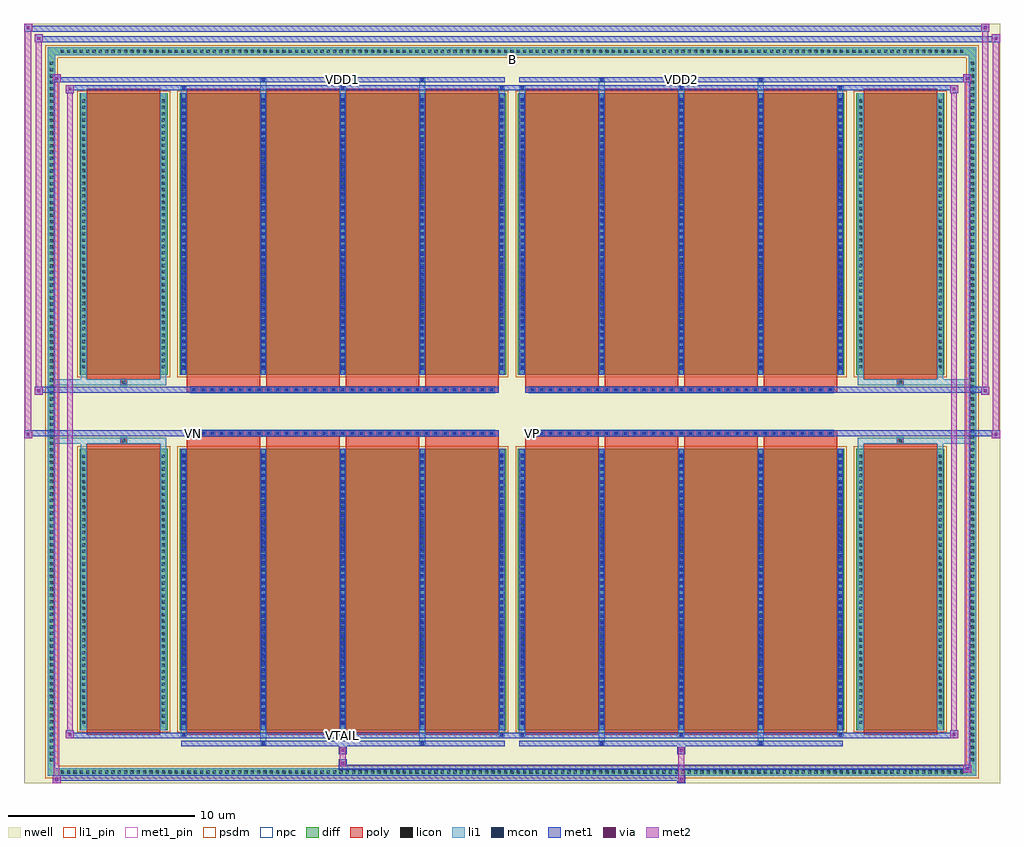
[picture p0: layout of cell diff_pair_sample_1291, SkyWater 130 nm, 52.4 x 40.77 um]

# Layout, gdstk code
import gdstk
lib = gdstk.Library(unit=1e-6, precision=5e-09)
def R(c, l, rs):  # rectangles x0, y0, x1, y1
    for r in rs: c.add(gdstk.rectangle(r[:2], r[2:], *l))
def A(c, l, x, y, w, h, nx, ny, dx, dy):  # array of equal rectangles
    R(c, l, [(x+i*dx, y+j*dy, x+i*dx+w, y+j*dy+h) for i in range(nx) for j in range(ny)])
def P(c, l, *ps):  # polygons
    for p in ps: c.add(gdstk.Polygon(p, *l))
nwell = (64, 20)
diff = (65, 20)
poly = (66, 20)
licon = (66, 44)
li1_pin = (67, 16)
li1 = (67, 20)
mcon = (67, 44)
met1_pin = (68, 16)
met1 = (68, 20)
via = (68, 44)
met2 = (69, 20)
psdm = (94, 20)
npc = (95, 20)

diff_pair_sample_1291 = lib.new_cell('diff_pair_sample_1291')
R(diff_pair_sample_1291, nwell, [(-26.2,-19.95,26.2,20.82), (-23.52,-18.14,-0.01,-0.8), (0.01,-18.14,23.52,-0.8), (-23.52,0.8,-0.01,18.14), (0.01,0.8,23.52,18.14)])
A(diff_pair_sample_1291, diff, -24.345, -19.55, 0.41, 0.41, 143, 2, 0.34, 38.69)
A(diff_pair_sample_1291, diff, -24.93, -18.905, 0.41, 0.41, 1, 111, 0, 0.34)
A(diff_pair_sample_1291, diff, 24.52, -18.905, 0.41, 0.41, 1, 111, 0, 0.34)
R(diff_pair_sample_1291, diff, [(-24.345,-19.55,24.345,-19.14), (-24.93,-18.905,-24.52,18.905), (24.52,-18.905,24.93,18.905), (-23.21,-17.095,-18.49,-1.985), (-17.85,-17.095,-0.32,-1.985), (0.32,-17.095,17.85,-1.985), (18.49,-17.095,23.21,-1.985), (-23.21,1.985,-18.49,17.095), (-17.85,1.985,-0.32,17.095), (0.32,1.985,17.85,17.095), (18.49,1.985,23.21,17.095), (-24.345,19.14,24.345,19.55)])
P(diff_pair_sample_1291, diff, [(24.93,19.55),(-24.93,19.55),(-24.93,-19.14),(-24.52,-19.14),(-24.52,19.14),(24.52,19.14),(24.52,-19.14),(-24.52,-19.14),(-24.93,-19.14),(-24.93,-19.55),(24.93,-19.55)])
A(diff_pair_sample_1291, poly, -17.46, -17.345, 3.94, 15.61, 4, 2, 4.27, 19.08)
A(diff_pair_sample_1291, poly, 0.71, -17.345, 3.94, 15.61, 4, 2, 4.27, 19.08)
A(diff_pair_sample_1291, poly, -17.46, -1.735, 3.94, 0.405, 4, 2, 4.27, 3.065)
A(diff_pair_sample_1291, poly, 0.71, -1.735, 3.94, 0.405, 4, 2, 4.27, 3.065)
A(diff_pair_sample_1291, poly, -17.25, -1.33, 0.33, 0.33, 33, 2, 0.5, 2.33)
A(diff_pair_sample_1291, poly, 0.92, -1.33, 0.33, 0.33, 33, 2, 0.5, 2.33)
R(diff_pair_sample_1291, poly, [(-22.82,-17.345,-18.88,-1.735), (18.88,-17.345,22.82,-1.735), (-21.015,-1.735,-20.685,-1.405), (-21.015,-1.735,-20.685,-1.405), (20.685,-1.735,21.015,-1.405), (20.685,-1.735,21.015,-1.405), (-17.46,-1.33,-0.71,-1), (0.71,-1.33,17.46,-1), (-17.46,1,-0.71,1.33), (0.71,1,17.46,1.33), (-21.015,1.405,-20.685,1.735), (-21.015,1.405,-20.685,1.735), (20.685,1.405,21.015,1.735), (20.685,1.405,21.015,1.735), (-22.82,1.735,-18.88,17.345), (18.88,1.735,22.82,17.345)])
A(diff_pair_sample_1291, licon, -24.225, -19.43, 0.17, 0.17, 143, 2, 0.34, 38.69)
A(diff_pair_sample_1291, licon, -24.81, -18.785, 0.17, 0.17, 1, 111, 0, 0.34)
A(diff_pair_sample_1291, licon, 24.64, -18.785, 0.17, 0.17, 1, 111, 0, 0.34)
A(diff_pair_sample_1291, licon, -23.07, -16.765, 0.17, 0.17, 1, 43, 0, 0.34)
A(diff_pair_sample_1291, licon, -18.8, -16.765, 0.17, 0.17, 1, 43, 0, 0.34)
A(diff_pair_sample_1291, licon, -17.71, -16.765, 0.17, 0.17, 5, 43, 4.27, 0.34)
A(diff_pair_sample_1291, licon, 0.46, -16.765, 0.17, 0.17, 5, 43, 4.27, 0.34)
A(diff_pair_sample_1291, licon, 18.63, -16.765, 0.17, 0.17, 1, 43, 0, 0.34)
A(diff_pair_sample_1291, licon, 22.9, -16.765, 0.17, 0.17, 1, 43, 0, 0.34)
A(diff_pair_sample_1291, licon, -17.17, -1.25, 0.17, 0.17, 33, 2, 0.5, 2.33)
A(diff_pair_sample_1291, licon, 1, -1.25, 0.17, 0.17, 33, 2, 0.5, 2.33)
A(diff_pair_sample_1291, licon, -23.07, 2.315, 0.17, 0.17, 1, 43, 0, 0.34)
A(diff_pair_sample_1291, licon, -18.8, 2.315, 0.17, 0.17, 1, 43, 0, 0.34)
A(diff_pair_sample_1291, licon, -17.71, 2.315, 0.17, 0.17, 5, 43, 4.27, 0.34)
A(diff_pair_sample_1291, licon, 0.46, 2.315, 0.17, 0.17, 5, 43, 4.27, 0.34)
A(diff_pair_sample_1291, licon, 18.63, 2.315, 0.17, 0.17, 1, 43, 0, 0.34)
A(diff_pair_sample_1291, licon, 22.9, 2.315, 0.17, 0.17, 1, 43, 0, 0.34)
R(diff_pair_sample_1291, licon, [(-20.935,-1.655,-20.765,-1.485), (20.765,-1.655,20.935,-1.485), (-20.935,1.485,-20.765,1.655), (20.765,1.485,20.935,1.655)])
R(diff_pair_sample_1291, li1_pin, [(-0.25,18.64,0.25,19.14)])
A(diff_pair_sample_1291, li1, -24.305, -19.51, 0.33, 0.33, 143, 2, 0.34, 38.69)
A(diff_pair_sample_1291, li1, -24.89, -18.865, 0.33, 0.33, 1, 111, 0, 0.34)
A(diff_pair_sample_1291, li1, 24.56, -18.865, 0.33, 0.33, 1, 111, 0, 0.34)
A(diff_pair_sample_1291, li1, -17.79, -17.47, 0.33, 0.375, 3, 2, 8.54, 34.565)
A(diff_pair_sample_1291, li1, -17.71, -17.47, 0.17, 0.17, 3, 2, 8.54, 34.77)
A(diff_pair_sample_1291, li1, 0.38, -17.47, 0.33, 0.375, 3, 2, 8.54, 34.565)
A(diff_pair_sample_1291, li1, 0.46, -17.47, 0.17, 0.17, 3, 2, 8.54, 34.77)
A(diff_pair_sample_1291, li1, -17.79, -17.095, 0.33, 15.11, 5, 2, 4.27, 19.08)
A(diff_pair_sample_1291, li1, 0.38, -17.095, 0.33, 15.11, 5, 2, 4.27, 19.08)
A(diff_pair_sample_1291, li1, -23.15, -16.845, 0.33, 0.33, 1, 43, 0, 0.34)
A(diff_pair_sample_1291, li1, -18.88, -16.845, 0.33, 0.33, 1, 43, 0, 0.34)
A(diff_pair_sample_1291, li1, -17.79, -16.845, 0.33, 0.33, 5, 43, 4.27, 0.34)
A(diff_pair_sample_1291, li1, 0.38, -16.845, 0.33, 0.33, 5, 43, 4.27, 0.34)
A(diff_pair_sample_1291, li1, 18.55, -16.845, 0.33, 0.33, 1, 43, 0, 0.34)
A(diff_pair_sample_1291, li1, 22.82, -16.845, 0.33, 0.33, 1, 43, 0, 0.34)
A(diff_pair_sample_1291, li1, -17.71, -16.825, 0.17, 0.17, 5, 41, 4.27, 0.36)
A(diff_pair_sample_1291, li1, -17.71, -16.825, 0.17, 14.57, 5, 2, 4.27, 19.08)
A(diff_pair_sample_1291, li1, 0.46, -16.825, 0.17, 0.17, 5, 41, 4.27, 0.36)
A(diff_pair_sample_1291, li1, 0.46, -16.825, 0.17, 14.57, 5, 2, 4.27, 19.08)
A(diff_pair_sample_1291, li1, -17.25, -1.33, 0.33, 0.33, 33, 2, 0.5, 2.33)
A(diff_pair_sample_1291, li1, 0.92, -1.33, 0.33, 0.33, 33, 2, 0.5, 2.33)
A(diff_pair_sample_1291, li1, -23.15, 2.235, 0.33, 0.33, 1, 43, 0, 0.34)
A(diff_pair_sample_1291, li1, -18.88, 2.235, 0.33, 0.33, 1, 43, 0, 0.34)
A(diff_pair_sample_1291, li1, -17.79, 2.235, 0.33, 0.33, 5, 43, 4.27, 0.34)
A(diff_pair_sample_1291, li1, 0.38, 2.235, 0.33, 0.33, 5, 43, 4.27, 0.34)
A(diff_pair_sample_1291, li1, 18.55, 2.235, 0.33, 0.33, 1, 43, 0, 0.34)
A(diff_pair_sample_1291, li1, 22.82, 2.235, 0.33, 0.33, 1, 43, 0, 0.34)
A(diff_pair_sample_1291, li1, -17.71, 2.255, 0.17, 0.17, 5, 41, 4.27, 0.36)
A(diff_pair_sample_1291, li1, 0.46, 2.255, 0.17, 0.17, 5, 41, 4.27, 0.36)
R(diff_pair_sample_1291, li1, [(-24.93,-19.55,-24.52,-19.14), (-24.93,-19.55,-24.52,-19.14), (-24.52,-19.55,24.52,-19.14), (24.52,-19.55,24.93,-19.14), (24.52,-19.55,24.93,-19.14), (-24.93,-19.14,-24.52,19.14), (24.52,-19.14,24.93,19.14), (-13.52,-17.9,-13.19,-17.095), (-13.44,-17.9,-13.27,-17.73), (-4.98,-17.9,-4.65,-17.095), (-4.9,-17.9,-4.73,-17.73), (4.65,-17.9,4.98,-17.095), (4.73,-17.9,4.9,-17.73), (13.19,-17.9,13.52,-17.095), (13.27,-17.9,13.44,-17.73), (-23.15,-17.095,-22.82,-1.985), (-18.88,-17.095,-18.55,-1.985), (18.55,-17.095,18.88,-1.985), (22.82,-17.095,23.15,-1.985), (-23.15,-1.985,-22.82,-1.405), (-18.88,-1.985,-18.55,-1.405), (18.55,-1.985,18.88,-1.405), (22.82,-1.985,23.15,-1.405), (-24.93,-1.735,-21.015,-1.405), (-23.15,-1.735,-21.015,-1.405), (-21.015,-1.735,-20.685,-1.405), (-20.685,-1.735,-18.55,-1.405), (18.55,-1.735,20.685,-1.405), (20.685,-1.735,21.015,-1.405), (20.685,-1.735,24.93,-1.405), (21.015,-1.735,23.15,-1.405), (-24.93,1.405,-21.015,1.735), (-23.15,1.405,-21.015,1.735), (-23.15,1.405,-22.82,1.985), (-21.015,1.405,-20.685,1.735), (-20.685,1.405,-18.55,1.735), (-18.88,1.405,-18.55,1.985), (18.55,1.405,20.685,1.735), (18.55,1.405,18.88,1.985), (20.685,1.405,21.015,1.735), (20.685,1.405,24.93,1.735), (21.015,1.405,23.15,1.735), (22.82,1.405,23.15,1.985), (-23.15,1.985,-22.82,17.095), (-18.88,1.985,-18.55,17.095), (18.55,1.985,18.88,17.095), (22.82,1.985,23.15,17.095), (-13.52,17.095,-13.19,17.9), (-4.98,17.095,-4.65,17.9), (4.65,17.095,4.98,17.9), (13.19,17.095,13.52,17.9), (-13.44,17.73,-13.27,17.9), (-4.9,17.73,-4.73,17.9), (4.73,17.73,4.9,17.9), (13.27,17.73,13.44,17.9), (-24.93,19.14,-24.52,19.55), (-24.93,19.14,-24.52,19.55), (-24.52,19.14,24.52,19.55), (24.52,19.14,24.93,19.55), (24.52,19.14,24.93,19.55)])
A(diff_pair_sample_1291, mcon, -17.71, -17.47, 0.17, 0.17, 3, 2, 8.54, 34.77)
A(diff_pair_sample_1291, mcon, 0.46, -17.47, 0.17, 0.17, 3, 2, 8.54, 34.77)
A(diff_pair_sample_1291, mcon, -17.71, -16.825, 0.17, 0.17, 5, 41, 4.27, 0.36)
A(diff_pair_sample_1291, mcon, 0.46, -16.825, 0.17, 0.17, 5, 41, 4.27, 0.36)
A(diff_pair_sample_1291, mcon, -17.17, -1.25, 0.17, 0.17, 33, 2, 0.5, 2.33)
A(diff_pair_sample_1291, mcon, 1, -1.25, 0.17, 0.17, 33, 2, 0.5, 2.33)
A(diff_pair_sample_1291, mcon, -17.71, 2.255, 0.17, 0.17, 5, 41, 4.27, 0.36)
A(diff_pair_sample_1291, mcon, 0.46, 2.255, 0.17, 0.17, 5, 41, 4.27, 0.36)
R(diff_pair_sample_1291, mcon, [(-13.44,-17.9,-13.27,-17.73), (-4.9,-17.9,-4.73,-17.73), (4.73,-17.9,4.9,-17.73), (13.27,-17.9,13.44,-17.73), (-13.44,17.73,-13.27,17.9), (-4.9,17.73,-4.73,17.9), (4.73,17.73,4.9,17.9), (13.27,17.73,13.44,17.9)])
R(diff_pair_sample_1291, met1_pin, [(-9.22,-17.51,-8.95,-17.24), (-17.22,-1.29,-16.95,-1.02), (0.95,-1.29,1.22,-1.02), (-9.22,17.69,-8.95,17.96), (8.95,17.69,9.22,17.96)])
A(diff_pair_sample_1291, met1, -17.77, -17.53, 0.29, 0.29, 3, 2, 8.54, 34.77)
A(diff_pair_sample_1291, met1, 0.4, -17.53, 0.29, 0.29, 3, 2, 8.54, 34.77)
A(diff_pair_sample_1291, met1, -17.77, -17.095, 0.29, 15.11, 5, 2, 4.27, 19.08)
A(diff_pair_sample_1291, met1, 0.4, -17.095, 0.29, 15.11, 5, 2, 4.27, 19.08)
A(diff_pair_sample_1291, met1, -17.77, -16.885, 0.29, 0.29, 5, 41, 4.27, 0.36)
A(diff_pair_sample_1291, met1, 0.4, -16.885, 0.29, 0.29, 5, 41, 4.27, 0.36)
A(diff_pair_sample_1291, met1, -17.23, -1.31, 0.29, 0.29, 33, 2, 0.5, 2.33)
A(diff_pair_sample_1291, met1, 0.94, -1.31, 0.29, 0.29, 33, 2, 0.5, 2.33)
A(diff_pair_sample_1291, met1, -17.77, 2.195, 0.29, 0.29, 5, 41, 4.27, 0.36)
A(diff_pair_sample_1291, met1, 0.4, 2.195, 0.29, 0.29, 5, 41, 4.27, 0.36)
R(diff_pair_sample_1291, met1, [(-24.66,-19.95,-24.23,-19.52), (8.87,-19.95,9.3,-19.52), (-24.66,-19.81,9.3,-19.52), (24.23,-19.38,24.66,-18.95), (-9.3,-19.24,24.66,-18.95), (-9.3,-19.1,-8.87,-18.67), (-9.3,-18.39,-8.87,-17.96), (8.87,-18.39,9.3,-17.96), (-17.77,-17.96,-0.4,-17.67), (-13.5,-17.96,-13.21,-17.67), (-4.96,-17.96,-4.67,-17.67), (0.4,-17.96,17.77,-17.67), (4.67,-17.96,4.96,-17.67), (13.21,-17.96,13.5,-17.67), (-23.95,-17.53,-23.52,-17.1), (-23.95,-17.53,-17.77,-17.24), (-17.77,-17.53,-0.4,-17.24), (-0.4,-17.53,0.4,-17.24), (0.4,-17.53,17.77,-17.24), (17.77,-17.53,23.95,-17.24), (23.52,-17.53,23.95,-17.1), (-26.2,-1.43,-25.77,-1), (25.77,-1.43,26.2,-1), (-26.2,-1.33,-0.71,-1), (-17.46,-1.33,-0.71,-1), (0.71,-1.33,17.46,-1), (0.71,-1.33,26.2,-1), (-25.63,0.9,-25.2,1.33), (25.2,0.9,25.63,1.33), (-25.63,1,-17.46,1.33), (-17.46,1,-0.71,1.33), (0.71,1,17.46,1.33), (17.46,1,25.63,1.33), (-23.95,17.1,-23.52,17.53), (23.52,17.1,23.95,17.53), (-23.95,17.24,-17.77,17.53), (-17.77,17.24,-0.4,17.53), (-0.4,17.24,0.4,17.53), (0.4,17.24,17.77,17.53), (17.77,17.24,23.95,17.53), (-24.66,17.67,-24.23,18.1), (-24.66,17.67,-17.77,17.96), (-17.77,17.67,-0.4,17.96), (-13.5,17.67,-13.21,17.96), (-4.96,17.67,-4.67,17.96), (0.4,17.67,17.77,17.96), (4.67,17.67,4.96,17.96), (13.21,17.67,13.5,17.96), (17.77,17.67,24.66,17.96), (24.23,17.67,24.66,18.1), (-25.63,19.82,-25.2,20.25), (-25.63,19.82,-23.52,20.15), (-23.52,19.82,23.52,20.15), (23.52,19.82,26.2,20.15), (25.77,19.82,26.2,20.25), (-26.2,20.39,-25.77,20.82), (-26.2,20.39,-23.52,20.72), (-23.52,20.39,23.52,20.72), (23.52,20.39,25.63,20.72), (25.2,20.39,25.63,20.82)])
R(diff_pair_sample_1291, via, [(-24.52,-19.81,-24.37,-19.66), (9.01,-19.81,9.16,-19.66), (24.37,-19.24,24.52,-19.09), (-9.16,-18.96,-9.01,-18.81), (-9.16,-18.25,-9.01,-18.1), (9.01,-18.25,9.16,-18.1), (-23.81,-17.39,-23.66,-17.24), (23.66,-17.39,23.81,-17.24), (-26.06,-1.29,-25.91,-1.14), (25.91,-1.29,26.06,-1.14), (-25.49,1.04,-25.34,1.19), (25.34,1.04,25.49,1.19), (-23.81,17.24,-23.66,17.39), (23.66,17.24,23.81,17.39), (-24.52,17.81,-24.37,17.96), (24.37,17.81,24.52,17.96), (-25.49,19.96,-25.34,20.11), (25.91,19.96,26.06,20.11), (-26.06,20.53,-25.91,20.68), (25.34,20.53,25.49,20.68)])
R(diff_pair_sample_1291, met2, [(-24.66,-19.95,-24.23,-19.52), (-24.59,-19.95,-24.3,18.1), (-24.3,-19.95,-24.23,-19.52), (-24.61,-19.9,-24.28,-19.57), (8.92,-19.9,9.25,-19.57), (8.92,-19.57,9.25,-18.34), (24.23,-19.38,24.66,-18.95), (24.3,-19.38,24.59,18.1), (24.59,-19.38,24.66,-18.95), (24.28,-19.33,24.61,-19), (-9.25,-19.05,-8.92,-18.72), (-9.25,-18.72,-8.92,-18.34), (-9.25,-18.34,-8.92,-18.01), (8.92,-18.34,9.25,-18.01), (-23.95,-17.53,-23.52,-17.1), (-23.88,-17.53,-23.59,17.53), (-23.59,-17.53,-23.52,-17.1), (23.52,-17.53,23.95,-17.1), (23.59,-17.53,23.88,17.53), (23.88,-17.53,23.95,-17.1), (-23.9,-17.48,-23.57,-17.15), (23.57,-17.48,23.9,-17.15), (-26.2,-1.43,-25.77,-1), (-26.15,-1.43,-25.82,20.82), (-25.82,-1.43,-25.77,-1), (25.77,-1.43,26.2,-1), (25.82,-1.43,26.15,20.25), (26.15,-1.43,26.2,-1), (-26.15,-1.38,-25.82,-1.05), (25.82,-1.38,26.15,-1.05), (-25.63,0.9,-25.2,1.33), (-25.58,0.9,-25.25,20.25), (-25.25,0.9,-25.2,1.33), (25.2,0.9,25.63,1.33), (25.25,0.9,25.58,20.82), (25.58,0.9,25.63,1.33), (-25.58,0.95,-25.25,1.28), (25.25,0.95,25.58,1.28), (-23.95,17.1,-23.52,17.53), (-23.59,17.1,-23.52,17.53), (23.52,17.1,23.95,17.53), (23.88,17.1,23.95,17.53), (-23.9,17.15,-23.57,17.48), (23.57,17.15,23.9,17.48), (-24.66,17.67,-24.23,18.1), (-24.3,17.67,-24.23,18.1), (24.23,17.67,24.66,18.1), (24.59,17.67,24.66,18.1), (-24.61,17.72,-24.28,18.05), (24.28,17.72,24.61,18.05), (-25.63,19.82,-25.2,20.25), (-25.25,19.82,-25.2,20.25), (25.77,19.82,26.2,20.25), (26.15,19.82,26.2,20.25), (-25.58,19.87,-25.25,20.2), (25.82,19.87,26.15,20.2), (-26.2,20.39,-25.77,20.82), (-25.82,20.39,-25.77,20.82), (25.2,20.39,25.63,20.82), (25.58,20.39,25.63,20.82), (-26.15,20.44,-25.82,20.77), (25.25,20.44,25.58,20.77)])
R(diff_pair_sample_1291, psdm, [(-23.34,-17.225,-18.36,-1.855), (-17.98,-17.225,-0.19,-1.855), (0.19,-17.225,17.98,-1.855), (18.36,-17.225,23.34,-1.855), (-23.34,1.855,-18.36,17.225), (-17.98,1.855,-0.19,17.225), (0.19,1.855,17.98,17.225), (18.36,1.855,23.34,17.225)])
P(diff_pair_sample_1291, psdm, [(25.06,19.68),(-25.06,19.68),(-25.06,-19.01),(-24.39,-19.01),(-24.39,19.01),(24.39,19.01),(24.39,-19.01),(-24.39,-19.01),(-25.06,-19.01),(-25.06,-19.68),(25.06,-19.68)])
A(diff_pair_sample_1291, npc, -17.27, -1.35, 0.37, 0.37, 33, 2, 0.5, 2.33)
A(diff_pair_sample_1291, npc, 0.9, -1.35, 0.37, 0.37, 33, 2, 0.5, 2.33)
R(diff_pair_sample_1291, npc, [(-21.035,-1.755,-20.665,-1.385), (20.665,-1.755,21.035,-1.385), (-17.27,-1.35,-16.4,-0.98), (-17.27,-1.35,-16.4,-0.98), (-16.77,-1.35,-15.9,-0.98), (-16.77,-1.35,-15.9,-0.98), (-16.27,-1.35,-15.4,-0.98), (-16.27,-1.35,-15.4,-0.98), (-15.77,-1.35,-14.9,-0.98), (-15.77,-1.35,-14.9,-0.98), (-15.27,-1.35,-14.4,-0.98), (-15.27,-1.35,-14.4,-0.98), (-14.77,-1.35,-13.9,-0.98), (-14.77,-1.35,-13.9,-0.98), (-14.27,-1.35,-13.4,-0.98), (-14.27,-1.35,-13.4,-0.98), (-13.77,-1.35,-12.9,-0.98), (-13.77,-1.35,-12.9,-0.98), (-13.27,-1.35,-12.4,-0.98), (-13.27,-1.35,-12.4,-0.98), (-12.77,-1.35,-11.9,-0.98), (-12.77,-1.35,-11.9,-0.98), (-12.27,-1.35,-11.4,-0.98), (-12.27,-1.35,-11.4,-0.98), (-11.77,-1.35,-10.9,-0.98), (-11.77,-1.35,-10.9,-0.98), (-11.27,-1.35,-10.4,-0.98), (-11.27,-1.35,-10.4,-0.98), (-10.77,-1.35,-9.9,-0.98), (-10.77,-1.35,-9.9,-0.98), (-10.27,-1.35,-9.4,-0.98), (-10.27,-1.35,-9.4,-0.98), (-9.77,-1.35,-8.9,-0.98), (-9.77,-1.35,-8.9,-0.98), (-9.27,-1.35,-8.4,-0.98), (-9.27,-1.35,-8.4,-0.98), (-8.77,-1.35,-7.9,-0.98), (-8.77,-1.35,-7.9,-0.98), (-8.27,-1.35,-7.4,-0.98), (-8.27,-1.35,-7.4,-0.98), (-7.77,-1.35,-6.9,-0.98), (-7.77,-1.35,-6.9,-0.98), (-7.27,-1.35,-6.4,-0.98), (-7.27,-1.35,-6.4,-0.98), (-6.77,-1.35,-5.9,-0.98), (-6.77,-1.35,-5.9,-0.98), (-6.27,-1.35,-5.4,-0.98), (-6.27,-1.35,-5.4,-0.98), (-5.77,-1.35,-4.9,-0.98), (-5.77,-1.35,-4.9,-0.98), (-5.27,-1.35,-4.4,-0.98), (-5.27,-1.35,-4.4,-0.98), (-4.77,-1.35,-3.9,-0.98), (-4.77,-1.35,-3.9,-0.98), (-4.27,-1.35,-3.4,-0.98), (-4.27,-1.35,-3.4,-0.98), (-3.77,-1.35,-2.9,-0.98), (-3.77,-1.35,-2.9,-0.98), (-3.27,-1.35,-2.4,-0.98), (-3.27,-1.35,-2.4,-0.98), (-2.77,-1.35,-1.9,-0.98), (-2.77,-1.35,-1.9,-0.98), (-2.27,-1.35,-1.4,-0.98), (-2.27,-1.35,-1.4,-0.98), (-1.77,-1.35,-0.9,-0.98), (-1.77,-1.35,-0.9,-0.98), (0.9,-1.35,1.77,-0.98), (0.9,-1.35,1.77,-0.98), (1.4,-1.35,2.27,-0.98), (1.4,-1.35,2.27,-0.98), (1.9,-1.35,2.77,-0.98), (1.9,-1.35,2.77,-0.98), (2.4,-1.35,3.27,-0.98), (2.4,-1.35,3.27,-0.98), (2.9,-1.35,3.77,-0.98), (2.9,-1.35,3.77,-0.98), (3.4,-1.35,4.27,-0.98), (3.4,-1.35,4.27,-0.98), (3.9,-1.35,4.77,-0.98), (3.9,-1.35,4.77,-0.98), (4.4,-1.35,5.27,-0.98), (4.4,-1.35,5.27,-0.98), (4.9,-1.35,5.77,-0.98), (4.9,-1.35,5.77,-0.98), (5.4,-1.35,6.27,-0.98), (5.4,-1.35,6.27,-0.98), (5.9,-1.35,6.77,-0.98), (5.9,-1.35,6.77,-0.98), (6.4,-1.35,7.27,-0.98), (6.4,-1.35,7.27,-0.98), (6.9,-1.35,7.77,-0.98), (6.9,-1.35,7.77,-0.98), (7.4,-1.35,8.27,-0.98), (7.4,-1.35,8.27,-0.98), (7.9,-1.35,8.77,-0.98), (7.9,-1.35,8.77,-0.98), (8.4,-1.35,9.27,-0.98), (8.4,-1.35,9.27,-0.98), (8.9,-1.35,9.77,-0.98), (8.9,-1.35,9.77,-0.98), (9.4,-1.35,10.27,-0.98), (9.4,-1.35,10.27,-0.98), (9.9,-1.35,10.77,-0.98), (9.9,-1.35,10.77,-0.98), (10.4,-1.35,11.27,-0.98), (10.4,-1.35,11.27,-0.98), (10.9,-1.35,11.77,-0.98), (10.9,-1.35,11.77,-0.98), (11.4,-1.35,12.27,-0.98), (11.4,-1.35,12.27,-0.98), (11.9,-1.35,12.77,-0.98), (11.9,-1.35,12.77,-0.98), (12.4,-1.35,13.27,-0.98), (12.4,-1.35,13.27,-0.98), (12.9,-1.35,13.77,-0.98), (12.9,-1.35,13.77,-0.98), (13.4,-1.35,14.27,-0.98), (13.4,-1.35,14.27,-0.98), (13.9,-1.35,14.77,-0.98), (13.9,-1.35,14.77,-0.98), (14.4,-1.35,15.27,-0.98), (14.4,-1.35,15.27,-0.98), (14.9,-1.35,15.77,-0.98), (14.9,-1.35,15.77,-0.98), (15.4,-1.35,16.27,-0.98), (15.4,-1.35,16.27,-0.98), (15.9,-1.35,16.77,-0.98), (15.9,-1.35,16.77,-0.98), (16.4,-1.35,17.27,-0.98), (16.4,-1.35,17.27,-0.98), (-17.27,0.98,-16.4,1.35), (-17.27,0.98,-16.4,1.35), (-16.77,0.98,-15.9,1.35), (-16.77,0.98,-15.9,1.35), (-16.27,0.98,-15.4,1.35), (-16.27,0.98,-15.4,1.35), (-15.77,0.98,-14.9,1.35), (-15.77,0.98,-14.9,1.35), (-15.27,0.98,-14.4,1.35), (-15.27,0.98,-14.4,1.35), (-14.77,0.98,-13.9,1.35), (-14.77,0.98,-13.9,1.35), (-14.27,0.98,-13.4,1.35), (-14.27,0.98,-13.4,1.35), (-13.77,0.98,-12.9,1.35), (-13.77,0.98,-12.9,1.35), (-13.27,0.98,-12.4,1.35), (-13.27,0.98,-12.4,1.35), (-12.77,0.98,-11.9,1.35), (-12.77,0.98,-11.9,1.35), (-12.27,0.98,-11.4,1.35), (-12.27,0.98,-11.4,1.35), (-11.77,0.98,-10.9,1.35), (-11.77,0.98,-10.9,1.35), (-11.27,0.98,-10.4,1.35), (-11.27,0.98,-10.4,1.35), (-10.77,0.98,-9.9,1.35), (-10.77,0.98,-9.9,1.35), (-10.27,0.98,-9.4,1.35), (-10.27,0.98,-9.4,1.35), (-9.77,0.98,-8.9,1.35), (-9.77,0.98,-8.9,1.35), (-9.27,0.98,-8.4,1.35), (-9.27,0.98,-8.4,1.35), (-8.77,0.98,-7.9,1.35), (-8.77,0.98,-7.9,1.35), (-8.27,0.98,-7.4,1.35), (-8.27,0.98,-7.4,1.35), (-7.77,0.98,-6.9,1.35), (-7.77,0.98,-6.9,1.35), (-7.27,0.98,-6.4,1.35), (-7.27,0.98,-6.4,1.35), (-6.77,0.98,-5.9,1.35), (-6.77,0.98,-5.9,1.35), (-6.27,0.98,-5.4,1.35), (-6.27,0.98,-5.4,1.35), (-5.77,0.98,-4.9,1.35), (-5.77,0.98,-4.9,1.35), (-5.27,0.98,-4.4,1.35), (-5.27,0.98,-4.4,1.35), (-4.77,0.98,-3.9,1.35), (-4.77,0.98,-3.9,1.35), (-4.27,0.98,-3.4,1.35), (-4.27,0.98,-3.4,1.35), (-3.77,0.98,-2.9,1.35), (-3.77,0.98,-2.9,1.35), (-3.27,0.98,-2.4,1.35), (-3.27,0.98,-2.4,1.35), (-2.77,0.98,-1.9,1.35), (-2.77,0.98,-1.9,1.35), (-2.27,0.98,-1.4,1.35), (-2.27,0.98,-1.4,1.35), (-1.77,0.98,-0.9,1.35), (-1.77,0.98,-0.9,1.35), (0.9,0.98,1.77,1.35), (0.9,0.98,1.77,1.35), (1.4,0.98,2.27,1.35), (1.4,0.98,2.27,1.35), (1.9,0.98,2.77,1.35), (1.9,0.98,2.77,1.35), (2.4,0.98,3.27,1.35), (2.4,0.98,3.27,1.35), (2.9,0.98,3.77,1.35), (2.9,0.98,3.77,1.35), (3.4,0.98,4.27,1.35), (3.4,0.98,4.27,1.35), (3.9,0.98,4.77,1.35), (3.9,0.98,4.77,1.35), (4.4,0.98,5.27,1.35), (4.4,0.98,5.27,1.35), (4.9,0.98,5.77,1.35), (4.9,0.98,5.77,1.35), (5.4,0.98,6.27,1.35), (5.4,0.98,6.27,1.35), (5.9,0.98,6.77,1.35), (5.9,0.98,6.77,1.35), (6.4,0.98,7.27,1.35), (6.4,0.98,7.27,1.35), (6.9,0.98,7.77,1.35), (6.9,0.98,7.77,1.35), (7.4,0.98,8.27,1.35), (7.4,0.98,8.27,1.35), (7.9,0.98,8.77,1.35), (7.9,0.98,8.77,1.35), (8.4,0.98,9.27,1.35), (8.4,0.98,9.27,1.35), (8.9,0.98,9.77,1.35), (8.9,0.98,9.77,1.35), (9.4,0.98,10.27,1.35), (9.4,0.98,10.27,1.35), (9.9,0.98,10.77,1.35), (9.9,0.98,10.77,1.35), (10.4,0.98,11.27,1.35), (10.4,0.98,11.27,1.35), (10.9,0.98,11.77,1.35), (10.9,0.98,11.77,1.35), (11.4,0.98,12.27,1.35), (11.4,0.98,12.27,1.35), (11.9,0.98,12.77,1.35), (11.9,0.98,12.77,1.35), (12.4,0.98,13.27,1.35), (12.4,0.98,13.27,1.35), (12.9,0.98,13.77,1.35), (12.9,0.98,13.77,1.35), (13.4,0.98,14.27,1.35), (13.4,0.98,14.27,1.35), (13.9,0.98,14.77,1.35), (13.9,0.98,14.77,1.35), (14.4,0.98,15.27,1.35), (14.4,0.98,15.27,1.35), (14.9,0.98,15.77,1.35), (14.9,0.98,15.77,1.35), (15.4,0.98,16.27,1.35), (15.4,0.98,16.27,1.35), (15.9,0.98,16.77,1.35), (15.9,0.98,16.77,1.35), (16.4,0.98,17.27,1.35), (16.4,0.98,17.27,1.35), (-21.035,1.385,-20.665,1.755), (20.665,1.385,21.035,1.755)])
diff_pair_sample_1291.add(gdstk.Label('VTAIL', (-9.085,-17.375), layer=68, texttype=5))
diff_pair_sample_1291.add(gdstk.Label('VN', (-17.085,-1.155), layer=68, texttype=5))
diff_pair_sample_1291.add(gdstk.Label('VP', (1.085,-1.155), layer=68, texttype=5))
diff_pair_sample_1291.add(gdstk.Label('B', (0,18.89), layer=67, texttype=5))
diff_pair_sample_1291.add(gdstk.Label('VDD2', (9.085,17.825), layer=68, texttype=5))
diff_pair_sample_1291.add(gdstk.Label('VDD1', (-9.085,17.825), layer=68, texttype=5))

lib.write_gds('diff_pair_sample_1291.gds')
